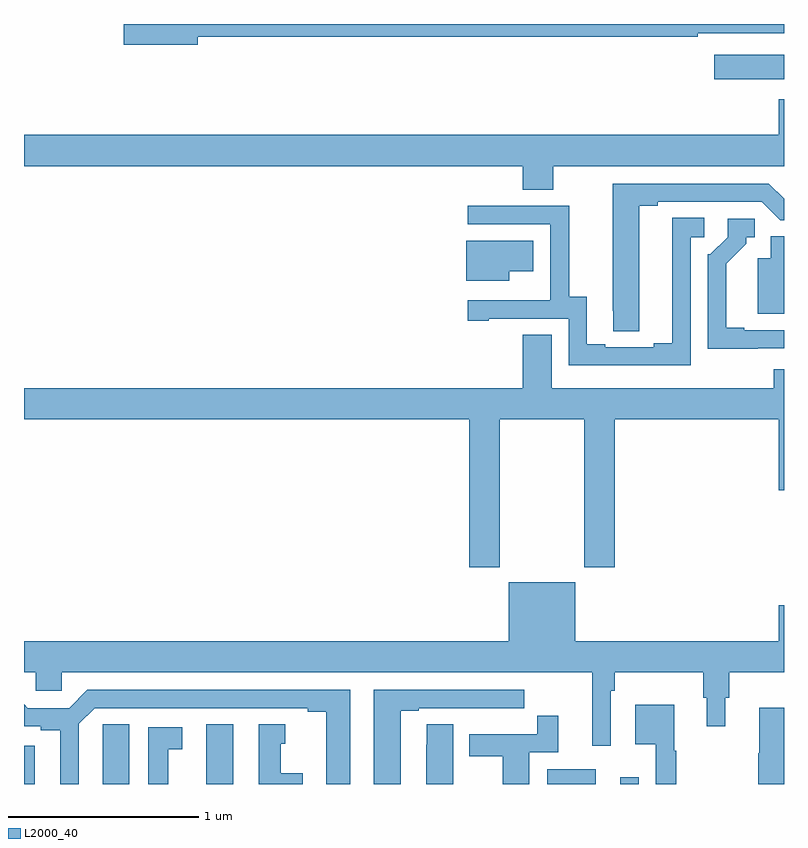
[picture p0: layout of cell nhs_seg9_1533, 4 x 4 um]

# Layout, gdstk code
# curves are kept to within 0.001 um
import gdstk
lib = gdstk.Library(unit=1e-6, precision=1e-09)
def R(c, l, rs):  # rectangles x0, y0, x1, y1
    for r in rs: c.add(gdstk.rectangle(r[:2], r[2:], *l))
def P(c, l, *ps):  # polygons
    for p in ps: c.add(gdstk.Polygon(p, *l))
L2000_40 = (2000, 40)

nhs_seg9_1533 = lib.new_cell('nhs_seg9_1533')
R(nhs_seg9_1533, L2000_40, [(197,1194.5,197.056,1194.702), (197.96,1194.5,198.1,1194.814), (199.754,1194.5,200.008,1194.577), (200.138,1194.5,200.235,1194.535), (200.634,1198.21,201,1198.339)])
P(nhs_seg9_1533, L2000_40, [(197.914,1198.432),(200.546,1198.432),(200.546,1198.452),(201,1198.452),(201,1198.5),(197.526,1198.5),(197.526,1198.39),(197.914,1198.39)],
  [(199.785,1197.752),(201,1197.752),(201,1198.105),(200.972,1198.105),(200.972,1197.916),(197,1197.916),(197,1197.752),(199.625,1197.752),(199.625,1197.628),(199.785,1197.628)],
  [(200.239,1197.544),(200.335,1197.544),(200.335,1197.564),(200.883,1197.564),(200.979,1197.468),(201,1197.468),(201,1197.579),(200.919,1197.66),(200.099,1197.66),(200.1,1196.884),(200.239,1196.884)],
  [(200.508,1197.378),(200.581,1197.378),(200.581,1197.479),(200.411,1197.479),(200.411,1196.819),(200.315,1196.819),(200.315,1196.799),(200.059,1196.799),(200.059,1196.814),(199.963,1196.814),(199.963,1197.065),(199.869,1197.065),(199.869,1197.543),(199.335,1197.543),(199.335,1197.447),(199.77,1197.447),(199.77,1197.046),(199.769,1197.046),(199.769,1197.045),(199.335,1197.045),(199.335,1196.937),(199.447,1196.937),(199.447,1196.949),(199.866,1196.949),(199.866,1196.703),(200.508,1196.703)],
  [(200.861,1196.793),(201,1196.793),(201,1196.889),(200.791,1196.889),(200.791,1196.902),(200.695,1196.902),(200.695,1197.238),(200.8,1197.343),(200.8,1197.378),(200.845,1197.378),(200.845,1197.474),(200.703,1197.474),(200.703,1197.378),(200.613,1197.288),(200.598,1197.288),(200.598,1196.792)],
  [(201,1197.383),(200.93,1197.383),(200.93,1197.268),(200.861,1197.268),(200.861,1196.974),(201,1196.974)],
  [(199.555,1197.2),(199.681,1197.2),(199.681,1197.358),(199.328,1197.358),(199.328,1197.149),(199.555,1197.149)],
  [(199.503,1196.42),(199.948,1196.42),(199.948,1195.641),(200.108,1195.641),(200.108,1196.42),(200.972,1196.42),(200.972,1196.046),(201,1196.046),(201,1196.682),(200.945,1196.682),(200.945,1196.584),(199.777,1196.584),(199.777,1196.864),(199.625,1196.864),(199.625,1196.584),(197,1196.584),(197,1196.42),(199.343,1196.42),(199.343,1195.641),(199.503,1195.641)],
  [(201,1195.441),(200.972,1195.441),(200.972,1195.252),(199.9,1195.252),(199.9,1195.561),(199.55,1195.561),(199.55,1195.252),(197,1195.252),(197,1195.088),(197.061,1195.088),(197.061,1194.99),(197.199,1194.99),(197.199,1195.088),(199.991,1195.088),(199.991,1194.702),(200.088,1194.702),(200.088,1194.992),(200.108,1194.992),(200.108,1195.088),(200.575,1195.088),(200.575,1194.954),(200.594,1194.954),(200.594,1194.804),(200.692,1194.804),(200.692,1194.954),(200.711,1194.954),(200.711,1195.088),(201,1195.088)],
  [(197.289,1194.816),(197.373,1194.9),(198.494,1194.9),(198.494,1194.88),(198.59,1194.88),(198.59,1194.5),(198.718,1194.5),(198.718,1194.996),(197.333,1194.996),(197.237,1194.9),(197.019,1194.9),(197,1194.919),(197,1194.804),(197.088,1194.804),(197.088,1194.784),(197.192,1194.784),(197.192,1194.5),(197.289,1194.5)],
  [(198.982,1194.885),(199.078,1194.885),(199.078,1194.9),(199.354,1194.9),(199.354,1194.899),(199.52,1194.899),(199.52,1194.9),(199.633,1194.9),(199.633,1194.996),(198.842,1194.996),(198.842,1194.5),(198.982,1194.5)],
  [(200.434,1194.675),(200.422,1194.675),(200.422,1194.916),(200.216,1194.916),(200.216,1194.71),(200.325,1194.71),(200.325,1194.5),(200.434,1194.5)],
  [(201,1194.901),(200.87,1194.901),(200.87,1194.661),(200.864,1194.661),(200.864,1194.5),(201,1194.5)],
  [(199.66,1194.666),(199.811,1194.666),(199.811,1194.859),(199.702,1194.859),(199.702,1194.762),(199.343,1194.762),(199.343,1194.646),(199.52,1194.646),(199.52,1194.5),(199.66,1194.5)],
  [(197.554,1194.815),(197.415,1194.815),(197.415,1194.707),(197.414,1194.707),(197.414,1194.5),(197.554,1194.5)],
  [(199.258,1194.815),(199.119,1194.815),(199.119,1194.707),(199.118,1194.707),(199.118,1194.5),(199.258,1194.5)],
  [(198.466,1194.556),(198.352,1194.556),(198.352,1194.711),(198.376,1194.711),(198.376,1194.814),(198.236,1194.814),(198.236,1194.5),(198.466,1194.5)],
  [(197.758,1194.682),(197.833,1194.682),(197.833,1194.798),(197.654,1194.798),(197.654,1194.5),(197.758,1194.5)])

lib.write_gds('nhs_seg9_1533.gds')
